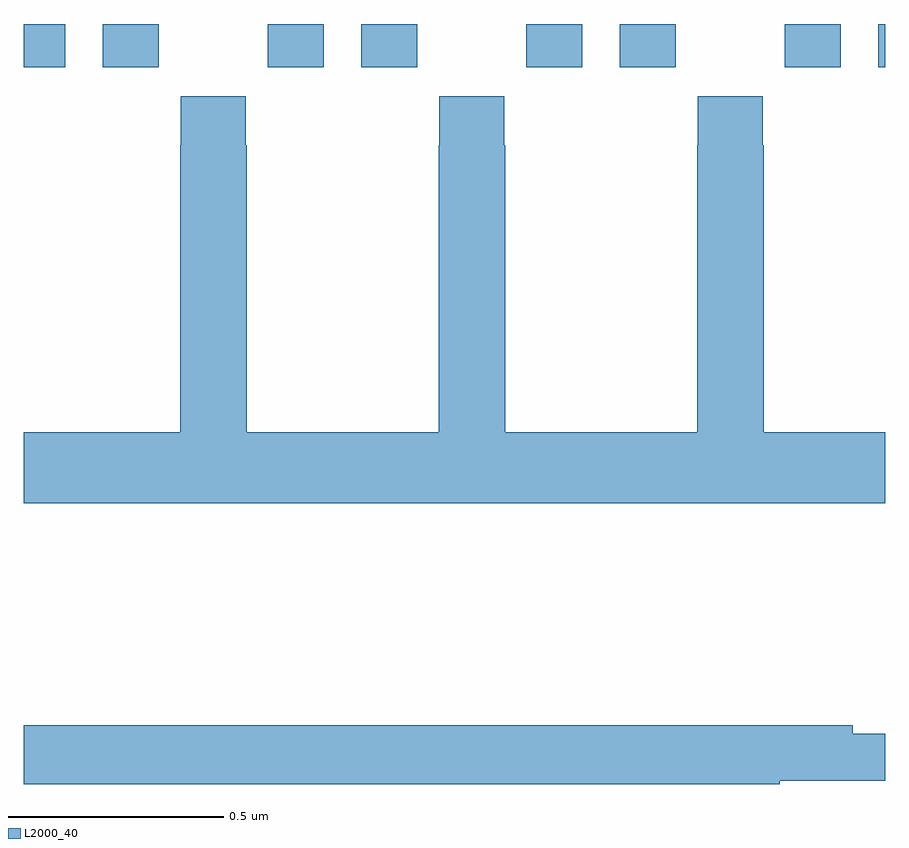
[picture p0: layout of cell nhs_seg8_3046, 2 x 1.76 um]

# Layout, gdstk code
import gdstk
lib = gdstk.Library(unit=1e-6, precision=1e-09)
def R(c, l, rs):  # rectangles x0, y0, x1, y1
    for r in rs: c.add(gdstk.rectangle(r[:2], r[2:], *l))
def P(c, l, *ps):  # polygons
    for p in ps: c.add(gdstk.Polygon(p, *l))
L2000_40 = (2000, 40)

nhs_seg8_3046 = lib.new_cell('nhs_seg8_3046')
R(nhs_seg8_3046, L2000_40, [(151,1162.8,151.096,1162.9), (151.184,1162.8,151.314,1162.9), (151.566,1162.8,151.696,1162.9), (151.784,1162.8,151.914,1162.9), (152.166,1162.8,152.296,1162.9), (152.384,1162.8,152.514,1162.9), (152.766,1162.8,152.896,1162.9), (152.984,1162.8,153,1162.9)])
P(nhs_seg8_3046, L2000_40, [(153,1161.952),(152.718,1161.952),(152.718,1162.619),(152.715,1162.619),(152.715,1162.732),(152.565,1162.732),(152.565,1162.619),(152.563,1162.619),(152.563,1161.952),(152.118,1161.952),(152.118,1162.619),(152.115,1162.619),(152.115,1162.732),(151.965,1162.732),(151.965,1162.619),(151.963,1162.619),(151.963,1161.952),(151.518,1161.952),(151.518,1162.619),(151.515,1162.619),(151.515,1162.732),(151.365,1162.732),(151.365,1162.619),(151.363,1162.619),(151.363,1161.952),(151,1161.952),(151,1161.788),(153,1161.788)],
  [(152.755,1161.144),(153,1161.144),(153,1161.253),(152.924,1161.253),(152.924,1161.272),(151,1161.272),(151,1161.136),(152.755,1161.136)])

lib.write_gds('nhs_seg8_3046.gds')
